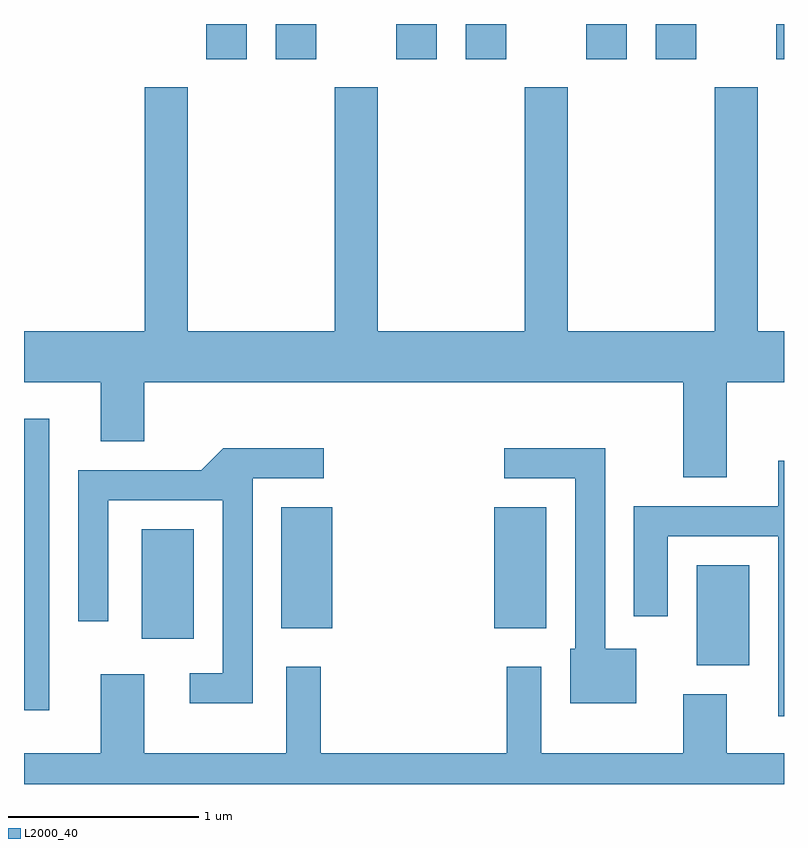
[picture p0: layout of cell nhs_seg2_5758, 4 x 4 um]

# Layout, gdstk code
import gdstk
lib = gdstk.Library(unit=1e-6, precision=1e-09)
def R(c, l, rs):  # rectangles x0, y0, x1, y1
    for r in rs: c.add(gdstk.rectangle(r[:2], r[2:], *l))
def P(c, l, *ps):  # polygons
    for p in ps: c.add(gdstk.Polygon(p, *l))
L2000_40 = (2000, 40)

nhs_seg2_5758 = lib.new_cell('nhs_seg2_5758')
R(nhs_seg2_5758, L2000_40, [(355.611,1002.191,355.744,1003.724), (359.151,1002.426,359.429,1002.954), (356.231,1002.566,356.504,1003.144), (356.966,1002.621,357.234,1003.259), (358.086,1002.621,358.359,1003.259), (356.571,1005.616,356.784,1005.802), (356.936,1005.616,357.149,1005.802), (357.571,1005.616,357.784,1005.802), (357.936,1005.616,358.149,1005.802), (358.571,1005.616,358.784,1005.802), (358.936,1005.616,359.149,1005.802), (359.571,1005.616,359.611,1005.802)])
P(nhs_seg2_5758, L2000_40, [(359.309,1003.916),(359.611,1003.916),(359.611,1004.184),(359.474,1004.184),(359.474,1005.469),(359.246,1005.469),(359.246,1004.184),(358.474,1004.184),(358.474,1005.469),(358.246,1005.469),(358.246,1004.184),(357.474,1004.184),(357.474,1005.469),(357.246,1005.469),(357.246,1004.184),(356.474,1004.184),(356.474,1005.469),(356.246,1005.469),(356.246,1004.184),(355.611,1004.184),(355.611,1003.916),(356.016,1003.916),(356.016,1003.606),(356.244,1003.606),(356.244,1003.916),(359.081,1003.916),(359.081,1003.416),(359.309,1003.416)],
  [(358.834,1002.514),(358.669,1002.514),(358.669,1003.569),(358.138,1003.569),(358.138,1003.411),(358.511,1003.411),(358.511,1002.514),(358.486,1002.514),(358.486,1002.226),(358.834,1002.226)],
  [(356.814,1003.411),(357.188,1003.411),(357.188,1003.569),(356.659,1003.569),(356.544,1003.454),(355.896,1003.454),(355.896,1002.658),(356.054,1002.658),(356.054,1003.296),(356.656,1003.296),(356.656,1002.384),(356.483,1002.384),(356.483,1002.226),(356.814,1002.226)],
  [(359.611,1003.503),(359.581,1003.503),(359.581,1003.264),(358.821,1003.264),(358.821,1002.686),(358.999,1002.686),(358.999,1003.106),(359.581,1003.106),(359.581,1002.158),(359.611,1002.158)],
  [(359.611,1001.964),(359.309,1001.964),(359.309,1002.274),(359.081,1002.274),(359.081,1001.964),(358.334,1001.964),(358.334,1002.419),(358.151,1002.419),(358.151,1001.964),(357.174,1001.964),(357.174,1002.419),(356.991,1002.419),(356.991,1001.964),(356.244,1001.964),(356.244,1002.379),(356.016,1002.379),(356.016,1001.964),(355.611,1001.964),(355.611,1001.802),(359.611,1001.802)])

lib.write_gds('nhs_seg2_5758.gds')
